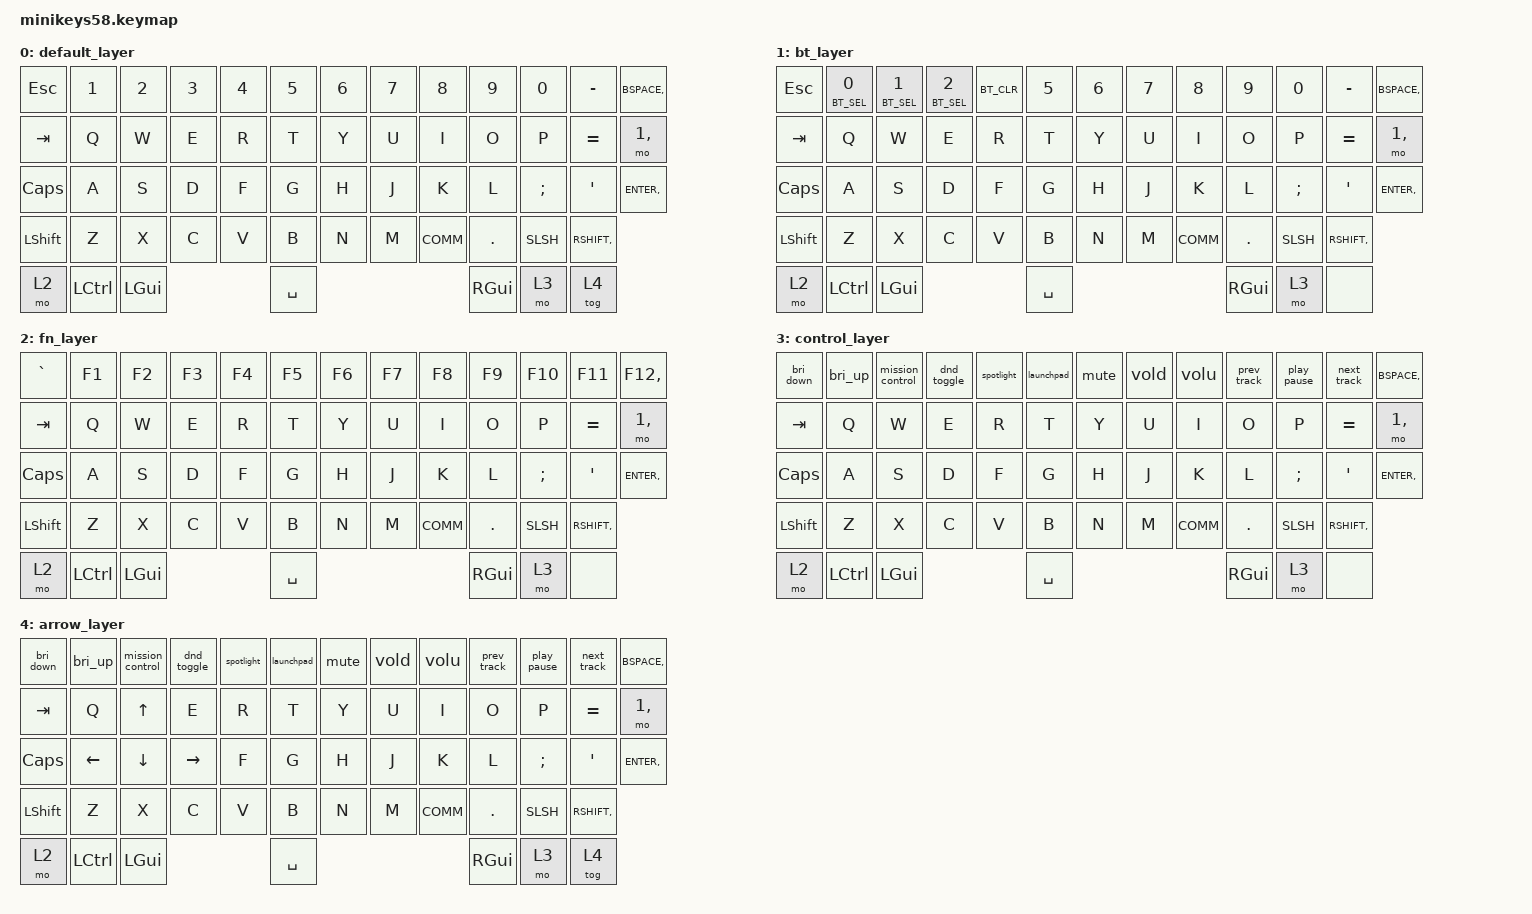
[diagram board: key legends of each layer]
#include <behaviors.dtsi>
#include <dt-bindings/zmk/keys.h>
#include <dt-bindings/zmk/bt.h>

 / {
    keymap {
        compatible = "zmk,keymap";

        default_layer {
            bindings = <
                &kp ESC   &kp N1   &kp N2   &kp N3   &kp N4   &kp N5   &kp N6   &kp N7   &kp N8   &kp N9   &kp N0   &kp MINUS   &kp BSPACE,
                &kp TAB   &kp Q    &kp W    &kp E    &kp R    &kp T    &kp Y    &kp U    &kp I    &kp O    &kp P  &kp EQUAL &mo 1,
                &kp CAPS  &kp A    &kp S    &kp D    &kp F    &kp G    &kp H    &kp J    &kp K    &kp L    &kp SCLN  &kp QUOT &kp ENTER,
                &kp LSHIFT &kp Z    &kp X    &kp C    &kp V    &kp B    &kp N    &kp M    &kp COMM &kp DOT  &kp SLSH  &kp RSHIFT,
                &mo 2      &kp LCTL &kp LGUI                   &kp SPACE                            &kp RGUI  &mo 3    &tog 4
            >;
        };
        
        bt_layer {
            bindings = <
                &kp ESC   &BT_SEL 0   &BT_SEL 1   &BT_SEL 2   &BT_CLR   &kp 5   &kp 6   &kp 7   &kp 8   &kp 9   &kp 0   &kp MINUS   &kp BSPACE,
                &kp TAB   &kp Q    &kp W    &kp E    &kp R    &kp T    &kp Y    &kp U    &kp I    &kp O    &kp P  &kp EQUAL &mo 1,
                &kp CAPS  &kp A    &kp S    &kp D    &kp F    &kp G    &kp H    &kp J    &kp K    &kp L    &kp SCLN  &kp QUOT &kp ENTER,
                &kp LSHIFT &kp Z    &kp X    &kp C    &kp V    &kp B    &kp N    &kp M    &kp COMM &kp DOT  &kp SLSH  &kp RSHIFT,
                &mo 2      &kp LCTL &kp LGUI                   &kp SPACE                            &kp RGUI  &mo 3    &none
            >;
        };
        
        fn_layer {
            bindings = <
                &kp GRAVE   &F1   &F2   &F3   &F4   &F5   &F6   &F7   &F8   &F9   &F10   &F11   &F12,
                &kp TAB   &kp Q    &kp W    &kp E    &kp R    &kp T    &kp Y    &kp U    &kp I    &kp O    &kp P  &kp EQUAL &mo 1,
                &kp CAPS  &kp A    &kp S    &kp D    &kp F    &kp G    &kp H    &kp J    &kp K    &kp L    &kp SCLN  &kp QUOT &kp ENTER,
                &kp LSHIFT &kp Z    &kp X    &kp C    &kp V    &kp B    &kp N    &kp M    &kp COMM &kp DOT  &kp SLSH  &kp RSHIFT,
                &mo 2      &kp LCTL &kp LGUI                   &kp SPACE                            &kp RGUI  &mo 3    &none
            >;
        };
        
        control_layer {
            bindings = <
                &bri_down   &bri_up   &mission_control   &dnd_toggle   &spotlight   &launchpad   &mute   &vold   &volu   &prev_track   &play_pause   &next_track   &kp BSPACE,
                &kp TAB   &kp Q    &kp W    &kp E    &kp R    &kp T    &kp Y    &kp U    &kp I    &kp O    &kp P  &kp EQUAL &mo 1,
                &kp CAPS  &kp A    &kp S    &kp D    &kp F    &kp G    &kp H    &kp J    &kp K    &kp L    &kp SCLN  &kp QUOT &kp ENTER,
                &kp LSHIFT &kp Z    &kp X    &kp C    &kp V    &kp B    &kp N    &kp M    &kp COMM &kp DOT  &kp SLSH  &kp RSHIFT,
                &mo 2      &kp LCTL &kp LGUI                   &kp SPACE                            &kp RGUI  &mo 3    &none
            >;
        };

        arrow_layer {
            bindings = <
                &bri_down   &bri_up   &mission_control   &dnd_toggle   &spotlight   &launchpad   &mute   &vold   &volu   &prev_track   &play_pause   &next_track   &kp BSPACE,
                &kp TAB   &kp Q    &kp UP    &kp E    &kp R    &kp T    &kp Y    &kp U    &kp I    &kp O    &kp P  &kp EQUAL &mo 1,
                &kp CAPS  &kp LEFT    &kp DOWN    &kp RIGHT    &kp F    &kp G    &kp H    &kp J    &kp K    &kp L    &kp SCLN  &kp QUOT &kp ENTER,
                &kp LSHIFT &kp Z    &kp X    &kp C    &kp V    &kp B    &kp N    &kp M    &kp COMM &kp DOT  &kp SLSH  &kp RSHIFT,
                &mo 2      &kp LCTL &kp LGUI                   &kp SPACE                            &kp RGUI  &mo 3    &tog 4
            >;
        };
    };
};
